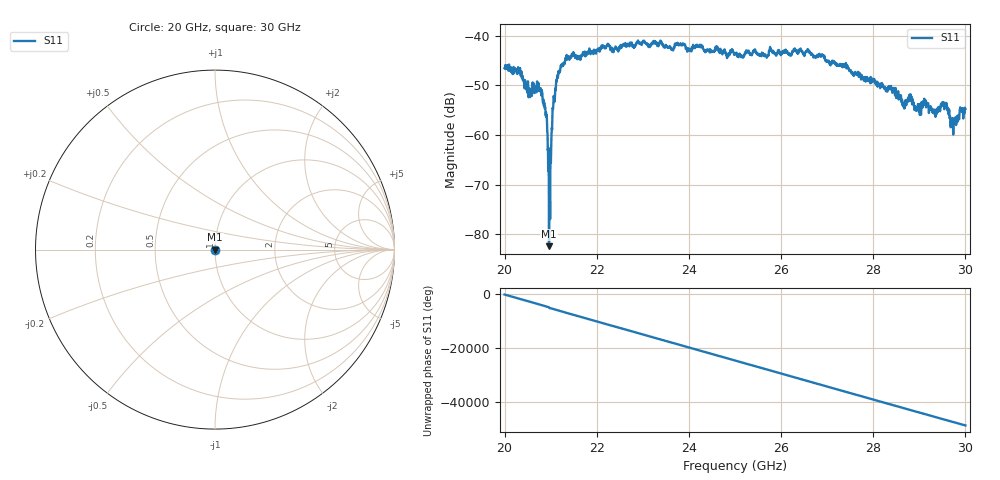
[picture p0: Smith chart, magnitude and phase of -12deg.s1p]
#  HZ  S  RI  R  50.00
! Rohde & Schwarz ZVA40 4Ports - Version 3.90 - 1145.1110k42 SN: 100403
! Date: 2023-10-03 11:29:42
! Measurement: S12
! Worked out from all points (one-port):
!   5001 points, 20 GHz to 30 GHz, reference 50 ohm
!   lowest |S11| = -82.4 dB at 20.96 GHz (marker M1), VSWR 1.00, Z = 50 + j0.00646 ohm
!   |S11| at or under -10 dB: start of sweep to end of sweep
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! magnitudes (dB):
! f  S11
! 20 GHz  -46.5
! 20.33 GHz  -46.6
! 20.54 GHz  -51.2
! 20.77 GHz  -50.9
! 20.88 GHz  -55.0
! 20.94 GHz  -62.8
! 20.96 GHz  -82.4
! 20.99 GHz  -63.8
! 21.04 GHz  -54.5
! 21.09 GHz  -52.7
! 21.17 GHz  -47.2
! 21.25 GHz  -46.1
! 21.47 GHz  -43.9
! 22.5 GHz  -42.3
! 23.75 GHz  -41.5
! 25 GHz  -43.8
! 26.25 GHz  -43.3
! 26.88 GHz  -44.1
! 27.5 GHz  -47.0
! 28.41 GHz  -50.8
! 28.67 GHz  -54.7
! 28.75 GHz  -53.0
! 28.94 GHz  -54.8
! 29.15 GHz  -54.2
! 29.33 GHz  -55.5
! 29.55 GHz  -54.0
! 29.73 GHz  -56.6
! 30 GHz  -54.8
